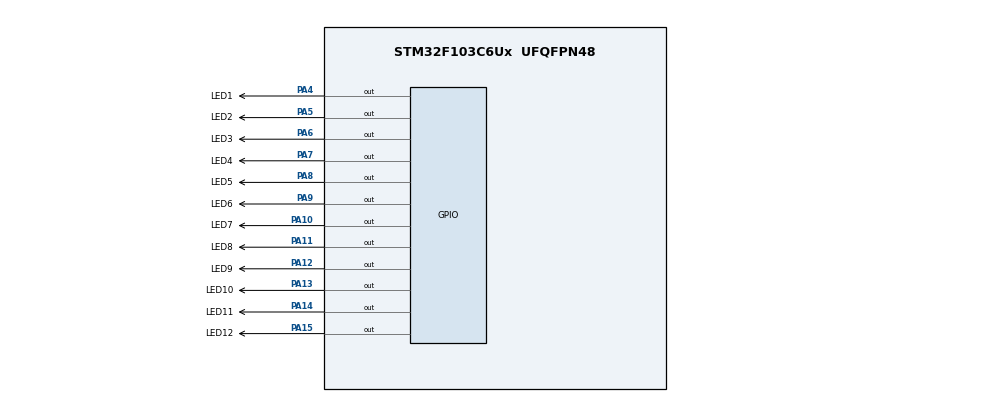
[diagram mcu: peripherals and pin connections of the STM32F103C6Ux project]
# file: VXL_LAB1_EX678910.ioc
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Mcu.Family=STM32F1
Mcu.Name=STM32F103C6Ux
Mcu.Package=UFQFPN48
NVIC.PriorityGroup=NVIC_PRIORITYGROUP_4
PA10.GPIO_Label=LED7
PA10.Signal=GPIO_Output
PA11.GPIO_Label=LED8
PA11.Signal=GPIO_Output
PA12.GPIO_Label=LED9
PA12.Signal=GPIO_Output
PA13.GPIO_Label=LED10
PA13.Signal=GPIO_Output
PA14.GPIO_Label=LED11
PA14.Signal=GPIO_Output
PA15.GPIO_Label=LED12
PA15.Signal=GPIO_Output
PA4.GPIO_Label=LED1
PA4.Signal=GPIO_Output
PA5.GPIO_Label=LED2
PA5.Signal=GPIO_Output
PA6.GPIO_Label=LED3
PA6.Signal=GPIO_Output
PA7.GPIO_Label=LED4
PA7.Signal=GPIO_Output
PA8.GPIO_Label=LED5
PA8.Signal=GPIO_Output
PA9.GPIO_Label=LED6
PA9.Signal=GPIO_Output
ProjectManager.HeapSize=0x200
ProjectManager.StackSize=0x400
ProjectManager.TargetToolchain=STM32CubeIDE
RCC.APB1Freq_Value=8000000
RCC.APB2Freq_Value=8000000
VP_SYS_VS_ND.Mode=No_Debug
board=custom

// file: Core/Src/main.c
/* USER CODE BEGIN Header */
/**
  ******************************************************************************
  * @file           : main.c
  * @brief          : Main program body
  ******************************************************************************
  * @attention
  *
  * <h2><center>&copy; Copyright (c) 2024 STMicroelectronics.
  * All rights reserved.</center></h2>
  *
  * This software component is licensed by ST under BSD 3-Clause license,
  * the "License"; You may not use this file except in compliance with the
  * License. You may obtain a copy of the License at:
  *                        opensource.org/licenses/BSD-3-Clause
  *
  ******************************************************************************
  */
/* USER CODE END Header */
#include "main.h"

void SystemClock_Config(void);
static void MX_GPIO_Init(void);
/* USER CODE BEGIN PFP */
void clearAllClock();
void setNumberOnClock(int num);
void clearNumberOnClock(int num);
/* USER CODE END PFP */

int main(void)
{

  /* MCU Configuration--------------------------------------------------------*/

  /* Reset of all peripherals, Initializes the Flash interface and the Systick. */
  HAL_Init();

  /* Configure the system clock */
  SystemClock_Config();

  /* Initialize all configured peripherals */
  MX_GPIO_Init();
  /* USER CODE BEGIN 2 */
  int h, m, s;
  h = m = 10; s = 30;
  int led_s, led_m;
  /* USER CODE END 2 */

  /* Infinite loop */
  /* USER CODE BEGIN WHILE */
  clearAllClock();
  while (1)
  {
	/* USER CODE END WHILE */
	  if (s >= 60)
	  	  {
	  		  s = 0;
	  		  m++;
	  		  if (m >= 60)
	  		  {
	  			  m = 0;
	  			  clearNumberOnClock(h);
	  			  h++;
	  			  if (h >= 12)
	  			  {
	  				  h = 0;
	  			  }
	  			  setNumberOnClock(h);
	  		  }
	  	  }
	if(s % 5 == 0) {
		if(led_s == led_m || led_s == h) {
			led_s = s / 5;
			setNumberOnClock(led_s);
		}
		else{
			clearNumberOnClock(led_s);
			led_s = s / 5;
			setNumberOnClock(led_s);
		}
	}
	if(m % 5 == 0) {
		if(led_m == h || led_m == led_s) {
			led_m = m / 5;
			setNumberOnClock(led_m);
		}
		else{
			clearNumberOnClock(led_m);
			led_m = m / 5;
			setNumberOnClock(led_m);
		}
	}
	s++;
	HAL_Delay(10);
  }
}

void SystemClock_Config(void)
{
  RCC_OscInitTypeDef RCC_OscInitStruct = {0};
  RCC_ClkInitTypeDef RCC_ClkInitStruct = {0};

  /** Initializes the RCC Oscillators according to the specified parameters
  * in the RCC_OscInitTypeDef structure.
  */
  RCC_OscInitStruct.OscillatorType = RCC_OSCILLATORTYPE_HSI;
  RCC_OscInitStruct.HSIState = RCC_HSI_ON;
  RCC_OscInitStruct.HSICalibrationValue = RCC_HSICALIBRATION_DEFAULT;
  RCC_OscInitStruct.PLL.PLLState = RCC_PLL_NONE;
  if (HAL_RCC_OscConfig(&RCC_OscInitStruct) != HAL_OK)
  {
    Error_Handler();
  }
  /** Initializes the CPU, AHB and APB buses clocks
  */
  RCC_ClkInitStruct.ClockType = RCC_CLOCKTYPE_HCLK|RCC_CLOCKTYPE_SYSCLK
                              |RCC_CLOCKTYPE_PCLK1|RCC_CLOCKTYPE_PCLK2;
  RCC_ClkInitStruct.SYSCLKSource = RCC_SYSCLKSOURCE_HSI;
  RCC_ClkInitStruct.AHBCLKDivider = RCC_SYSCLK_DIV1;
  RCC_ClkInitStruct.APB1CLKDivider = RCC_HCLK_DIV1;
  RCC_ClkInitStruct.APB2CLKDivider = RCC_HCLK_DIV1;

  if (HAL_RCC_ClockConfig(&RCC_ClkInitStruct, FLASH_LATENCY_0) != HAL_OK)
  {
    Error_Handler();
  }
}

static void MX_GPIO_Init(void)
{
  GPIO_InitTypeDef GPIO_InitStruct = {0};

  /* GPIO Ports Clock Enable */
  __HAL_RCC_GPIOA_CLK_ENABLE();

  /*Configure GPIO pin Output Level */
  HAL_GPIO_WritePin(GPIOA, LED1_Pin|LED2_Pin|LED3_Pin|LED4_Pin
                          |LED5_Pin|LED6_Pin|LED7_Pin|LED8_Pin
                          |LED9_Pin|LED10_Pin|LED11_Pin|LED12_Pin, GPIO_PIN_RESET);

  /*Configure GPIO pins : LED1_Pin LED2_Pin LED3_Pin LED4_Pin
                           LED5_Pin LED6_Pin LED7_Pin LED8_Pin
                           LED9_Pin LED10_Pin LED11_Pin LED12_Pin */
  GPIO_InitStruct.Pin = LED1_Pin|LED2_Pin|LED3_Pin|LED4_Pin
                          |LED5_Pin|LED6_Pin|LED7_Pin|LED8_Pin
                          |LED9_Pin|LED10_Pin|LED11_Pin|LED12_Pin;
  GPIO_InitStruct.Mode = GPIO_MODE_OUTPUT_PP;
  GPIO_InitStruct.Pull = GPIO_NOPULL;
  GPIO_InitStruct.Speed = GPIO_SPEED_FREQ_LOW;
  HAL_GPIO_Init(GPIOA, &GPIO_InitStruct);

}

/* USER CODE BEGIN 4 */
void clearAllClock()
{
	HAL_GPIO_WritePin(LED1_GPIO_Port, LED1_Pin, GPIO_PIN_SET);
	HAL_GPIO_WritePin(LED2_GPIO_Port, LED2_Pin, GPIO_PIN_SET);
	HAL_GPIO_WritePin(LED3_GPIO_Port, LED3_Pin, GPIO_PIN_SET);
	HAL_GPIO_WritePin(LED4_GPIO_Port, LED4_Pin, GPIO_PIN_SET);
	HAL_GPIO_WritePin(LED5_GPIO_Port, LED5_Pin, GPIO_PIN_SET);
	HAL_GPIO_WritePin(LED6_GPIO_Port, LED6_Pin, GPIO_PIN_SET);
	HAL_GPIO_WritePin(LED7_GPIO_Port, LED7_Pin, GPIO_PIN_SET);
	HAL_GPIO_WritePin(LED8_GPIO_Port, LED8_Pin, GPIO_PIN_SET);
	HAL_GPIO_WritePin(LED9_GPIO_Port, LED9_Pin, GPIO_PIN_SET);
	HAL_GPIO_WritePin(LED10_GPIO_Port, LED10_Pin, GPIO_PIN_SET);
	HAL_GPIO_WritePin(LED11_GPIO_Port, LED11_Pin, GPIO_PIN_SET);
	HAL_GPIO_WritePin(LED12_GPIO_Port, LED12_Pin, GPIO_PIN_SET);
}

void setNumberOnClock(int num)
{
	switch(num)
	{
		case 0:
			HAL_GPIO_WritePin(LED12_GPIO_Port, LED12_Pin, GPIO_PIN_RESET);
			break;
		case 1:
			HAL_GPIO_WritePin(LED1_GPIO_Port, LED1_Pin, GPIO_PIN_RESET);
			break;
		case 2:
			HAL_GPIO_WritePin(LED2_GPIO_Port, LED2_Pin, GPIO_PIN_RESET);
			break;
		case 3:
			HAL_GPIO_WritePin(LED3_GPIO_Port, LED3_Pin, GPIO_PIN_RESET);
			break;
		case 4:
			HAL_GPIO_WritePin(LED4_GPIO_Port, LED4_Pin, GPIO_PIN_RESET);
			break;
		case 5:
			HAL_GPIO_WritePin(LED5_GPIO_Port, LED5_Pin, GPIO_PIN_RESET);
			break;
		case 6:
			HAL_GPIO_WritePin(LED6_GPIO_Port, LED6_Pin, GPIO_PIN_RESET);
			break;
		case 7:
			HAL_GPIO_WritePin(LED7_GPIO_Port, LED7_Pin, GPIO_PIN_RESET);
			break;
		case 8:
			HAL_GPIO_WritePin(LED8_GPIO_Port, LED8_Pin, GPIO_PIN_RESET);
			break;
		case 9:
			HAL_GPIO_WritePin(LED9_GPIO_Port, LED9_Pin, GPIO_PIN_RESET);
			break;
		case 10:
			HAL_GPIO_WritePin(LED10_GPIO_Port, LED10_Pin, GPIO_PIN_RESET);
			break;
		case 11:
			HAL_GPIO_WritePin(LED11_GPIO_Port, LED11_Pin, GPIO_PIN_RESET);
			break;
	}
}

void clearNumberOnClock(int num)
{
	switch(num)
	{
		case 0:
			HAL_GPIO_WritePin(LED12_GPIO_Port, LED12_Pin, GPIO_PIN_SET);
			break;
		case 1:
			HAL_GPIO_WritePin(LED1_GPIO_Port, LED1_Pin, GPIO_PIN_SET);
			break;
		case 2:
			HAL_GPIO_WritePin(LED2_GPIO_Port, LED2_Pin, GPIO_PIN_SET);
			break;
		case 3:
			HAL_GPIO_WritePin(LED3_GPIO_Port, LED3_Pin, GPIO_PIN_SET);
			break;
		case 4:
			HAL_GPIO_WritePin(LED4_GPIO_Port, LED4_Pin, GPIO_PIN_SET);
			break;
		case 5:
			HAL_GPIO_WritePin(LED5_GPIO_Port, LED5_Pin, GPIO_PIN_SET);
			break;
		case 6:
			HAL_GPIO_WritePin(LED6_GPIO_Port, LED6_Pin, GPIO_PIN_SET);
			break;
		case 7:
			HAL_GPIO_WritePin(LED7_GPIO_Port, LED7_Pin, GPIO_PIN_SET);
			break;
		case 8:
			HAL_GPIO_WritePin(LED8_GPIO_Port, LED8_Pin, GPIO_PIN_SET);
			break;
		case 9:
			HAL_GPIO_WritePin(LED9_GPIO_Port, LED9_Pin, GPIO_PIN_SET);
			break;
		case 10:
			HAL_GPIO_WritePin(LED10_GPIO_Port, LED10_Pin, GPIO_PIN_SET);
			break;
		case 11:
			HAL_GPIO_WritePin(LED11_GPIO_Port, LED11_Pin, GPIO_PIN_SET);
			break;
	}
}
/* USER CODE END 4 */

void Error_Handler(void)
{
  __disable_irq();
  while (1)
  {
  }
}

/************************ (C) COPYRIGHT STMicroelectronics *****END OF FILE****/
